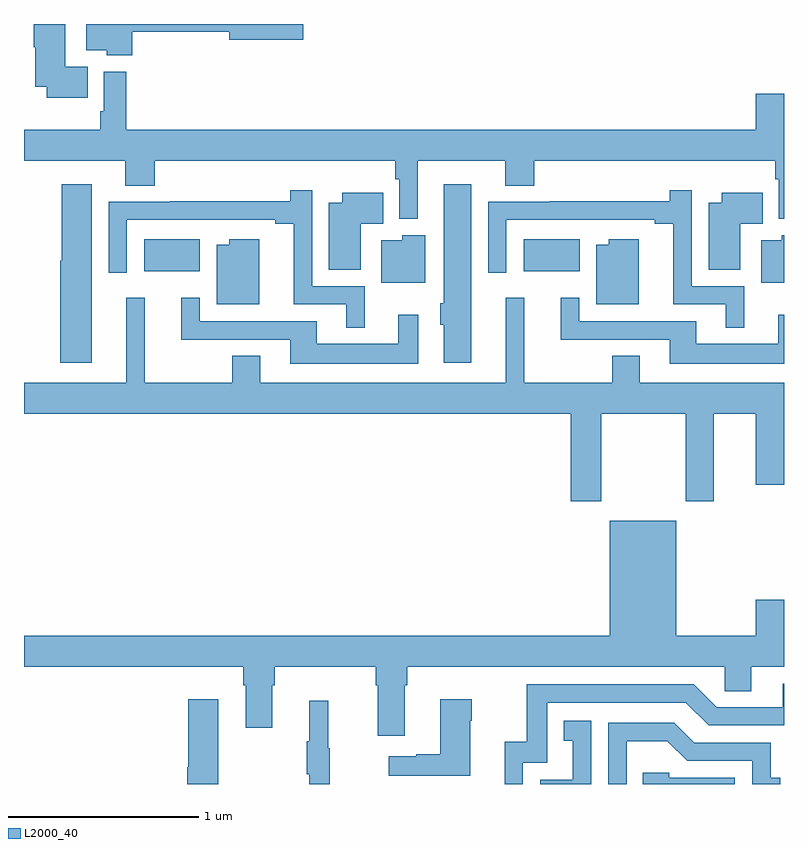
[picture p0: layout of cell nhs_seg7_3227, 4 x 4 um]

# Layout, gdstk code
import gdstk
lib = gdstk.Library(unit=1e-6, precision=1e-09)
def R(c, l, rs):  # rectangles x0, y0, x1, y1
    for r in rs: c.add(gdstk.rectangle(r[:2], r[2:], *l))
def P(c, l, *ps):  # polygons
    for p in ps: c.add(gdstk.Polygon(p, *l))
L2000_40 = (2000, 40)

nhs_seg7_3227 = lib.new_cell('nhs_seg7_3227')
R(nhs_seg7_3227, L2000_40, [(317.633,1002.698,317.926,1002.868), (319.631,1002.698,319.924,1002.868)])
P(nhs_seg7_3227, L2000_40, [(317.57,1003.96),(318.08,1003.96),(318.08,1003.918),(318.469,1003.918),(318.469,1004),(317.327,1004),(317.327,1003.862),(317.436,1003.862),(317.436,1003.835),(317.57,1003.835)],
  [(317.336,1003.774),(317.218,1003.774),(317.218,1004),(317.051,1004),(317.051,1003.878),(317.06,1003.878),(317.06,1003.67),(317.12,1003.67),(317.12,1003.613),(317.336,1003.613)],
  [(319.072,1003.28),(319.532,1003.28),(319.532,1003.15),(319.685,1003.15),(319.685,1003.28),(320.953,1003.28),(320.953,1003.184),(320.973,1003.184),(320.973,1002.974),(321,1002.974),(321,1003.633),(320.852,1003.633),(320.852,1003.444),(317.537,1003.444),(317.537,1003.75),(317.421,1003.75),(317.421,1003.54),(317.401,1003.54),(317.401,1003.444),(317,1003.444),(317,1003.28),(317.534,1003.28),(317.534,1003.15),(317.687,1003.15),(317.687,1003.28),(318.955,1003.28),(318.955,1003.184),(318.975,1003.184),(318.975,1002.974),(319.072,1002.974)],
  [(319.354,1003.156),(319.208,1003.156),(319.208,1002.531),(319.19,1002.531),(319.19,1002.417),(319.208,1002.417),(319.208,1002.216),(319.354,1002.216)],
  [(317.356,1003.156),(317.198,1003.156),(317.198,1002.753),(317.192,1002.753),(317.192,1002.216),(317.356,1002.216)],
  [(318.793,1002.621),(318.516,1002.621),(318.516,1003.126),(318.4,1003.126),(318.4,1003.067),(317.77,1003.067),(317.77,1003.065),(317.445,1003.065),(317.445,1002.69),(317.541,1002.69),(317.541,1002.969),(318.323,1002.969),(318.323,1002.949),(318.419,1002.949),(318.419,1002.525),(318.695,1002.525),(318.695,1002.401),(318.793,1002.401)],
  [(320.791,1002.621),(320.514,1002.621),(320.514,1003.126),(320.398,1003.126),(320.398,1003.067),(319.768,1003.067),(319.768,1003.065),(319.443,1003.065),(319.443,1002.69),(319.539,1002.69),(319.539,1002.969),(320.321,1002.969),(320.321,1002.949),(320.417,1002.949),(320.417,1002.525),(320.693,1002.525),(320.693,1002.401),(320.791,1002.401)],
  [(320.77,1002.95),(320.888,1002.95),(320.888,1003.111),(320.672,1003.111),(320.672,1003.06),(320.603,1003.06),(320.603,1002.706),(320.77,1002.706)],
  [(318.772,1002.95),(318.89,1002.95),(318.89,1003.111),(318.674,1003.111),(318.674,1003.06),(318.605,1003.06),(318.605,1002.706),(318.772,1002.706)],
  [(319.111,1002.889),(318.99,1002.889),(318.99,1002.862),(318.881,1002.862),(318.881,1002.638),(319.111,1002.638)],
  [(321,1002.889),(320.988,1002.889),(320.988,1002.862),(320.879,1002.862),(320.879,1002.638),(321,1002.638)],
  [(320.236,1002.868),(320.078,1002.868),(320.078,1002.838),(320.012,1002.838),(320.012,1002.524),(320.236,1002.524)],
  [(318.238,1002.868),(318.08,1002.868),(318.08,1002.838),(318.014,1002.838),(318.014,1002.524),(318.238,1002.524)],
  [(319.075,1002.469),(318.971,1002.469),(318.971,1002.316),(318.541,1002.316),(318.541,1002.435),(317.925,1002.435),(317.925,1002.559),(317.828,1002.559),(317.828,1002.339),(318.401,1002.339),(318.401,1002.212),(319.075,1002.212)],
  [(321,1002.469),(320.969,1002.469),(320.969,1002.316),(320.539,1002.316),(320.539,1002.435),(319.923,1002.435),(319.923,1002.559),(319.826,1002.559),(319.826,1002.339),(320.399,1002.339),(320.399,1002.212),(321,1002.212)],
  [(320.242,1002.254),(320.095,1002.254),(320.095,1002.112),(319.634,1002.112),(319.634,1002.559),(319.535,1002.559),(319.535,1002.112),(318.244,1002.112),(318.244,1002.254),(318.097,1002.254),(318.097,1002.112),(317.636,1002.112),(317.636,1002.559),(317.537,1002.559),(317.537,1002.112),(317,1002.112),(317,1001.948),(319.877,1001.948),(319.877,1001.487),(320.037,1001.487),(320.037,1001.948),(320.482,1001.948),(320.482,1001.487),(320.629,1001.487),(320.629,1001.948),(320.852,1001.948),(320.852,1001.574),(321,1001.574),(321,1002.112),(320.242,1002.112)],
  [(319.003,1000.52),(319.016,1000.52),(319.016,1000.616),(320.688,1000.616),(320.688,1000.489),(320.827,1000.489),(320.827,1000.616),(321,1000.616),(321,1000.969),(320.852,1000.969),(320.852,1000.78),(320.434,1000.78),(320.434,1001.386),(320.084,1001.386),(320.084,1000.78),(317,1000.78),(317,1000.616),(318.155,1000.616),(318.155,1000.52),(318.167,1000.52),(318.167,1000.296),(318.307,1000.296),(318.307,1000.52),(318.32,1000.52),(318.32,1000.616),(318.851,1000.616),(318.851,1000.52),(318.863,1000.52),(318.863,1000.254),(319.003,1000.254)],
  [(319.626,1000.113),(319.755,1000.113),(319.755,1000.428),(320.484,1000.428),(320.604,1000.308),(321,1000.308),(321,1000.527),(320.993,1000.527),(320.993,1000.404),(320.646,1000.404),(320.526,1000.524),(319.647,1000.524),(319.647,1000.222),(319.529,1000.222),(319.529,1000),(319.626,1000)],
  [(319.348,1000.334),(319.356,1000.334),(319.356,1000.447),(319.19,1000.447),(319.19,1000.157),(319.064,1000.157),(319.064,1000.147),(318.921,1000.147),(318.921,1000.043),(319.348,1000.043)],
  [(318.022,1000.447),(317.864,1000.447),(317.864,1000.089),(317.858,1000.089),(317.858,1000),(318.022,1000)],
  [(318.61,1000.188),(318.602,1000.188),(318.602,1000.438),(318.5,1000.438),(318.5,1000.225),(318.489,1000.225),(318.489,1000.051),(318.5,1000.051),(318.5,1000),(318.61,1000)],
  [(319.986,1000.333),(319.84,1000.333),(319.84,1000.227),(319.889,1000.227),(319.889,1000.023),(319.716,1000.023),(319.716,1000),(319.986,1000)],
  [(320.172,1000.226),(320.386,1000.226),(320.49,1000.122),(320.832,1000.122),(320.832,1000),(320.98,1000),(320.98,1000.033),(320.931,1000.033),(320.931,1000.218),(320.527,1000.218),(320.422,1000.323),(320.076,1000.323),(320.076,1000),(320.172,1000)],
  [(320.742,1000.032),(320.397,1000.032),(320.397,1000.059),(320.257,1000.059),(320.257,1000),(320.742,1000)])

lib.write_gds('nhs_seg7_3227.gds')
